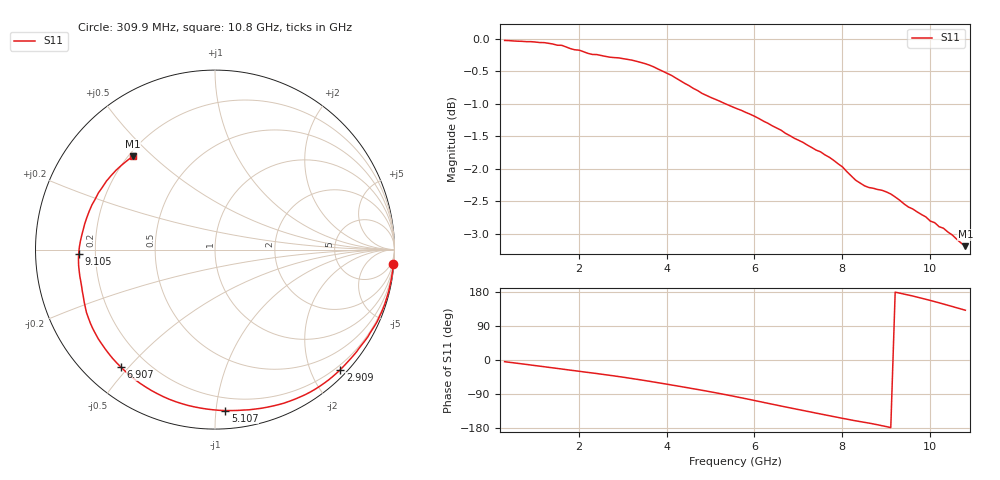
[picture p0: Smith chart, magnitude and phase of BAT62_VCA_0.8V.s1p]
! Infineon Technologies  Discrete & RF Semiconductors
! BAT62
! VCA = 0.8 V
! One-Port S-Parameters
# Hz  S  MA  R  50
!f  S11
!Hz  Mag  Ang
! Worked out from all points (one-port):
!   106 points, 309.9 MHz to 10.8 GHz, reference 50 ohm
!   lowest |S11| = -3.2 dB at 10.8 GHz (marker M1), VSWR 5.51, Z = 10.9 + j21.7 ohm
!   |S11| at or under -10 dB: nowhere
!   S11 on the Smith chart (normalised r, x): 309.9 MHz: 1, -26; 2.909 GHz: 0.12, -2.49; 5.107 GHz: 0.11, -1.06; 6.907 GHz: 0.11, -0.48; 9.105 GHz: 0.14, -0.01; 10.8 GHz: 0.22, +0.43
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3.0985e8  0.9974 -4.5
1.0095e9  0.9947 -14.8
1.70915e9  0.9861 -25.3
2.4088e9  0.9728 -35.7
2.90855e9  0.9671 -43.7
3.0085e9  0.9658 -45.4
3.4083e9  0.9594 -52.4
3.70815e9  0.9517 -58.1
4.10795e9  0.9377 -65.9
4.30785e9  0.929 -69.8
4.70765e9  0.9127 -77.9
5.10745e9  0.8987 -86.3
5.6072e9  0.8837 -97.6
5.90705e9  0.8751 -104.6
6.30685e9  0.8613 -114.3
6.6067e9  0.8508 -121.5
6.90655e9  0.8388 -128.5
7.2064e9  0.8286 -135.5
7.6062e9  0.8144 -144.8
8.006e9  0.7972 -153.9
8.2059e9  0.7846 -158.4
8.70565e9  0.7677 -168.7
9.10545e9  0.7599 -178.4
9.50525e9  0.7426 171.4
9.8051e9  0.7328 163.1
1.010495e10  0.7223 154.0
1.050475e10  0.7067 141.3
1.08046e10  0.6928 131.4
